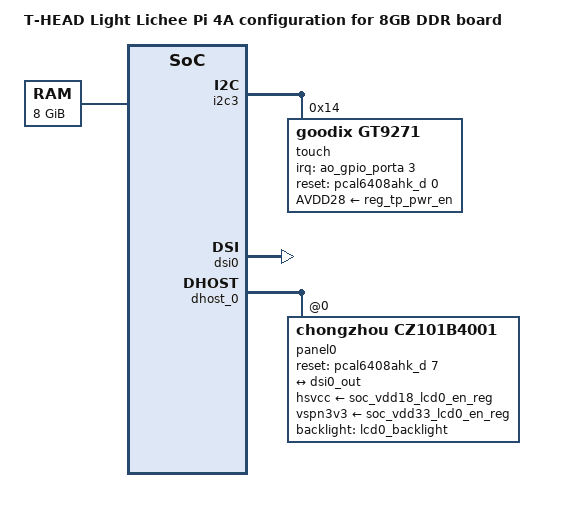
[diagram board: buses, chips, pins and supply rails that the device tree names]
/* SPDX-License-Identifier: GPL-2.0 */
/*
 * Copyright (C) 2022-2023 Alibaba Group Holding Limited.
 */

#include "light-lpi4a-ref.dts"

/ {
	model = "T-HEAD Light Lichee Pi 4A configuration for 8GB DDR board";
	compatible = "thead,light-val", "thead,light-lpi4a", "thead,light";

	memory@0 {
		device_type = "memory";
		reg = <0x0 0x200000 0x1 0xffe00000>;
	};
};

&cmamem {
	size = <0 0x20000000>; // 512MB on lpi4a (SOM)
	alloc-ranges = <0 0xd8000000 0 0x20000000>; // [0x0D800_0000 ~ 0x0F800_0000]
};

&i2c3 {
        touch@14 {
                #gpio-cells = <2>;
                compatible = "goodix,gt9271";
                reg = <0x14>;
                interrupt-parent = <&ao_gpio_porta>;
                interrupts = <3 0>;
                irq-gpios = <&ao_gpio_porta 3 0>;
                reset-gpios = <&pcal6408ahk_d 0 0>;
                AVDD28-supply = <&reg_tp_pwr_en>;
                touchscreen-size-x = <800>;
                touchscreen-size-y = <1200>;
                tp-size = <9271>;
                status = "okay";
        };
};

&dsi0 {
        status = "okay";
};

&dhost_0 {
        panel0@0 {
		compatible = "chongzhou,cz101b4001", "jadard,jd9365da-h3";
                reg = <0>;
                backlight = <&lcd0_backlight>;
                reset-gpio = <&pcal6408ahk_d 7 0>; /* active low */
                hsvcc-supply = <&soc_vdd18_lcd0_en_reg>;
                vspn3v3-supply = <&soc_vdd33_lcd0_en_reg>;

                port {
                        panel0_in: endpoint {
                                remote-endpoint = <&dsi0_out>;
                        };
                };
        };
};
